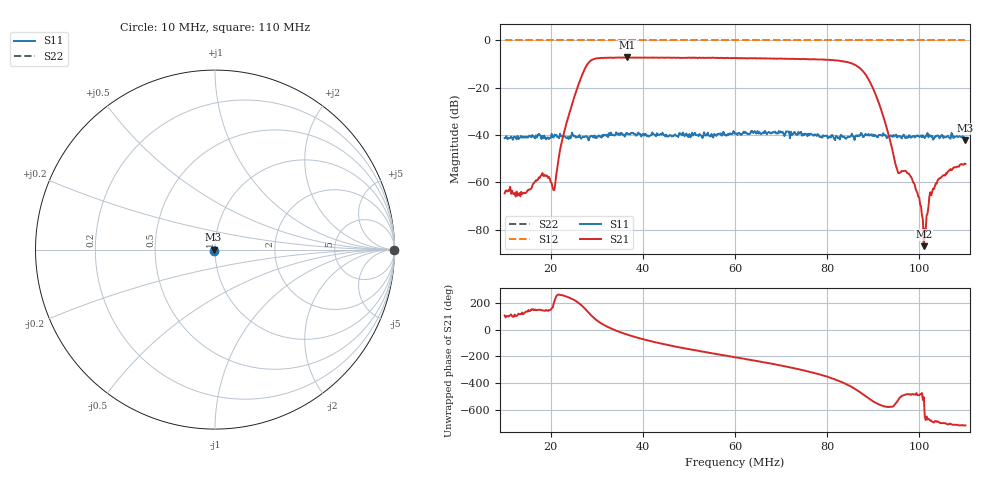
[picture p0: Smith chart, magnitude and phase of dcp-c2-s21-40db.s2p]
! Anritsu VNA Master:  Model: MS2034B/10/19/501
! SN:  1337062
! /bd0/ovro-jan-2016/dcp-c2-s21-40db.s2p
! Existing Calibration Information:
! TYPE:  Current Settings,  Active Cal Settings
! TIME:  01/10/2016 06:02:04 PM,  01/10/2016 03:13:30 PM
! INTERNAL TEMP:  43.0 C,  45.8 C
! # POINTS:  500,  500
! START FREQ:  10.000 MHz,  10.000 MHz
! STOP FREQ:  110.000 MHz,  110.000 MHz
! SOURCE POWER:  Low,  Low
! IFBW:  100 Hz,  100 Hz
! AVG FACTOR:  3 ,  3
! REF PLANE 1:  2.2245 m,  2.2245 m
! REF PLANE 2:  0 mm,  0 mm
! CAL TYPE:  1P2P S11,S21,  1P2P S11,S21
! CAL METHOD:  SOLT,  SOLT
! CAL LINE TYPE:  Coax,  Coax
! DUT PORT 1:  K-Conn(M),  K-Conn(M)
! DUT PORT 2:  N-Conn(M),  N-Conn(M)
! CAL STATUS:  OK: Accuracy High,  --
# GHZ S DB R 50.0
! FREQ.GHZ  S11DB  S11A  S21DB  S21A  S12DB  S12A  S22DB  S22A
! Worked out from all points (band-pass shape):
!   500 points, 10 MHz to 110 MHz, reference 50 ohm
!   highest |S21| = -7.19 dB at 36.65 MHz (marker M1); lowest = -86.9 dB at 101 MHz (marker M2)
!   |S21| within 3 dB of the highest: 27.94 MHz to 85.9 MHz (57.96 MHz wide, 102 % of centre)
!   lowest |S11| = -42.3 dB at 110 MHz (marker M3), VSWR 1.02, Z = 49.2 + j0.0126 ohm
!   |S11| at or under -10 dB: start of sweep to end of sweep
!   |S22| runs from 0.0 to 0.0 dB; largest |S21 - S12| = 1.4
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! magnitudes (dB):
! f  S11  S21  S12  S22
! 10 MHz  -41.3  -64.6  0.0  0.0
! 14.41 MHz  -40.7  -64.6  0.0  0.0
! 18.22 MHz  -40.3  -56.1  0.0  0.0
! 20.62 MHz  -41.1  -63.2  0.0  0.0
! 23.03 MHz  -40.4  -37.9  0.0  0.0
! 26.83 MHz  -41.0  -14.5  0.0  0.0
! 29.24 MHz  -41.0  -8.0  0.0  0.0
! 36.65 MHz  -39.3  -7.2  0.0  0.0
! 43.47 MHz  -39.7  -7.3  0.0  0.0
! 60.1 MHz  -39.3  -7.4  0.0  0.0
! 76.73 MHz  -39.7  -8.0  0.0  0.0
! 87.35 MHz  -39.1  -12.1  0.0  0.0
! 90.36 MHz  -39.9  -22.1  0.0  0.0
! 93.37 MHz  -40.4  -40.1  0.0  0.0
! 95.37 MHz  -40.4  -55.8  0.0  0.0
! 98.78 MHz  -40.4  -60.2  0.0  0.0
! 99.98 MHz  -40.8  -66.3  0.0  0.0
! 101 MHz  -40.8  -86.9  0.0  0.0
! 101.4 MHz  -40.5  -80.0  0.0  0.0
! 102.6 MHz  -40.6  -65.4  0.0  0.0
! 104 MHz  -40.2  -59.0  0.0  0.0
! 110 MHz  -42.3  -52.2  0.0  0.0
